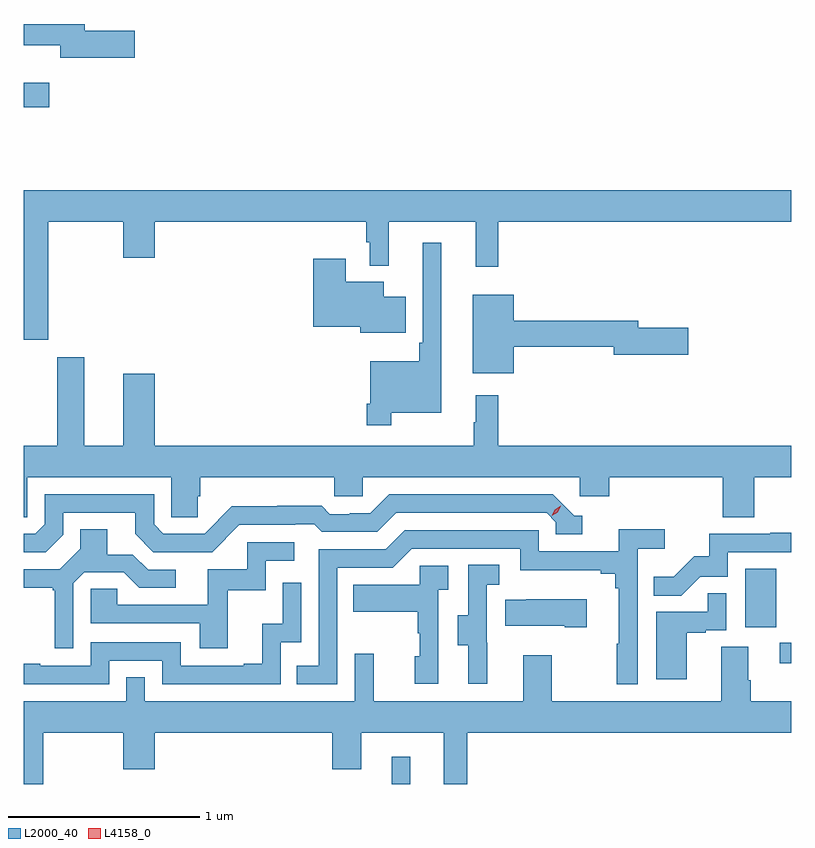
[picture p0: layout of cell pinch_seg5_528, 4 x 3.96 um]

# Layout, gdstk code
import gdstk
lib = gdstk.Library(unit=1e-6, precision=1e-09)
def R(c, l, rs):  # rectangles x0, y0, x1, y1
    for r in rs: c.add(gdstk.rectangle(r[:2], r[2:], *l))
def P(c, l, *ps):  # polygons
    for p in ps: c.add(gdstk.Polygon(p, *l))
L2000_40 = (2000, 40)
L4158_0 = (4158, 0)

pinch_seg5_528 = lib.new_cell('pinch_seg5_528')
R(pinch_seg5_528, L2000_40, [(957.614,851.166,957.712,851.308), (959.637,851.796,959.697,851.901), (959.456,851.982,959.62,852.289), (955.697,854.692,955.831,854.821)])
P(pinch_seg5_528, L2000_40, [(956.275,855.093),(956.014,855.093),(956.014,855.127),(955.697,855.127),(955.697,855.017),(955.886,855.017),(955.886,854.951),(956.275,854.951)],
  [(955.825,854.096),(956.216,854.096),(956.216,853.908),(956.38,853.908),(956.38,854.096),(957.481,854.096),(957.481,853.99),(957.501,853.99),(957.501,853.868),(957.599,853.868),(957.599,854.096),(958.052,854.096),(958.052,853.863),(958.169,853.863),(958.169,854.096),(959.697,854.096),(959.697,854.26),(955.697,854.26),(955.697,853.482),(955.825,853.482)],
  [(957.613,853.1),(957.874,853.1),(957.874,853.987),(957.777,853.987),(957.777,853.465),(957.757,853.465),(957.757,853.369),(957.504,853.369),(957.504,853.147),(957.484,853.147),(957.484,853.035),(957.613,853.035)],
  [(957.688,853.705),(957.574,853.705),(957.574,853.783),(957.376,853.783),(957.376,853.903),(957.206,853.903),(957.206,853.55),(957.452,853.55),(957.452,853.517),(957.688,853.517)],
  [(958.252,853.444),(958.772,853.444),(958.772,853.402),(959.161,853.402),(959.161,853.544),(958.9,853.544),(958.9,853.58),(958.252,853.58),(958.252,853.717),(958.037,853.717),(958.037,853.307),(958.252,853.307)],
  [(956.38,853.303),(956.216,853.303),(956.216,852.928),(956.011,852.928),(956.011,853.39),(955.871,853.39),(955.871,852.928),(955.697,852.928),(955.697,852.556),(955.716,852.556),(955.716,852.764),(956.466,852.764),(956.466,852.556),(956.603,852.556),(956.603,852.666),(956.618,852.666),(956.618,852.764),(957.315,852.764),(957.315,852.666),(957.465,852.666),(957.465,852.764),(958.596,852.764),(958.596,852.666),(958.748,852.666),(958.748,852.764),(959.339,852.764),(959.339,852.556),(959.504,852.556),(959.504,852.764),(959.697,852.764),(959.697,852.928),(958.169,852.928),(958.169,853.192),(958.052,853.192),(958.052,853.052),(958.041,853.052),(958.041,852.928),(956.38,852.928)],
  [(955.902,852.465),(955.902,852.579),(956.279,852.579),(956.279,852.469),(956.373,852.375),(956.679,852.375),(956.82,852.516),(957.113,852.516),(957.113,852.519),(957.212,852.519),(957.251,852.48),(957.54,852.48),(957.639,852.579),(958.422,852.579),(958.47,852.531),(958.47,852.468),(958.609,852.468),(958.609,852.564),(958.566,852.564),(958.455,852.675),(957.602,852.675),(957.503,852.576),(957.396,852.576),(957.396,852.573),(957.293,852.573),(957.251,852.616),(957.018,852.616),(957.018,852.613),(956.782,852.613),(956.64,852.471),(956.424,852.471),(956.376,852.519),(956.376,852.675),(955.806,852.675),(955.806,852.519),(955.758,852.471),(955.697,852.471),(955.697,852.375),(955.812,852.375)],
  [(955.956,852.213),(956.013,852.27),(956.219,852.27),(956.3,852.189),(956.488,852.189),(956.488,852.282),(956.346,852.282),(956.266,852.362),(956.131,852.362),(956.131,852.494),(955.991,852.494),(955.991,852.392),(955.884,852.285),(955.697,852.285),(955.697,852.188),(955.848,852.188),(955.848,852.177),(955.859,852.177),(955.859,851.874),(955.956,851.874)],
  [(957.33,852.294),(957.621,852.294),(957.72,852.393),(958.284,852.393),(958.284,852.281),(958.703,852.281),(958.703,852.262),(958.78,852.262),(958.78,852.185),(958.799,852.185),(958.799,851.897),(958.788,851.897),(958.788,851.685),(958.896,851.685),(958.896,852.392),(959.038,852.392),(959.038,852.494),(958.799,852.494),(958.799,852.378),(958.38,852.378),(958.38,852.489),(957.683,852.489),(957.584,852.39),(957.234,852.39),(957.234,851.781),(957.121,851.781),(957.121,851.685),(957.33,851.685)],
  [(959.223,852.246),(959.367,852.246),(959.367,852.375),(959.697,852.375),(959.697,852.476),(959.587,852.476),(959.587,852.471),(959.269,852.471),(959.269,852.354),(959.192,852.354),(959.085,852.247),(958.981,852.247),(958.981,852.148),(959.125,852.148)],
  [(956.759,852.177),(956.958,852.177),(956.958,852.33),(957.106,852.33),(957.106,852.426),(956.862,852.426),(956.862,852.285),(956.657,852.285),(956.657,852.099),(956.183,852.099),(956.183,852.183),(956.046,852.183),(956.046,852.003),(956.615,852.003),(956.615,851.874),(956.759,851.874)],
  [(958.112,851.901),(958.11,851.901),(958.11,852.205),(958.174,852.205),(958.174,852.308),(958.014,852.308),(958.014,852.045),(957.959,852.045),(957.959,851.89),(958.013,851.89),(958.013,851.688),(958.112,851.688)],
  [(957.858,852.179),(957.91,852.179),(957.91,852.303),(957.762,852.303),(957.762,852.205),(957.415,852.205),(957.415,852.065),(957.75,852.065),(957.75,851.951),(957.76,851.951),(957.76,851.832),(957.734,851.832),(957.734,851.688),(957.858,851.688)],
  [(956.142,851.808),(956.418,851.808),(956.418,851.685),(957.036,851.685),(957.036,851.904),(957.144,851.904),(957.144,852.214),(957.048,852.214),(957.048,852.002),(956.939,852.002),(956.939,851.794),(956.843,851.794),(956.843,851.781),(956.514,851.781),(956.514,851.904),(956.046,851.904),(956.046,851.781),(955.783,851.781),(955.783,851.794),(955.697,851.794),(955.697,851.685),(956.142,851.685)],
  [(959.152,851.955),(959.252,851.955),(959.252,851.967),(959.358,851.967),(959.358,852.161),(959.263,852.161),(959.263,852.063),(958.994,852.063),(958.994,851.712),(959.152,851.712)],
  [(958.63,852.13),(958.315,852.13),(958.315,852.127),(958.207,852.127),(958.207,851.99),(958.517,851.99),(958.517,851.983),(958.63,851.983)],
  [(955.798,851.432),(956.216,851.432),(956.216,851.244),(956.38,851.244),(956.38,851.432),(957.305,851.432),(957.305,851.242),(957.457,851.242),(957.457,851.432),(957.887,851.432),(957.887,851.166),(958.009,851.166),(958.009,851.432),(959.697,851.432),(959.697,851.596),(959.486,851.596),(959.486,851.708),(959.473,851.708),(959.473,851.882),(959.333,851.882),(959.333,851.596),(958.449,851.596),(958.449,851.836),(958.301,851.836),(958.301,851.596),(957.521,851.596),(957.521,851.845),(957.423,851.845),(957.423,851.596),(956.328,851.596),(956.328,851.723),(956.232,851.723),(956.232,851.596),(955.697,851.596),(955.697,851.166),(955.798,851.166)])
P(pinch_seg5_528, L4158_0, [(958.448,852.563),(958.448,852.563),(958.465,852.596),(958.495,852.615),(958.496,852.615),(958.496,852.615),(958.479,852.582),(958.448,852.563)])

lib.write_gds('pinch_seg5_528.gds')
